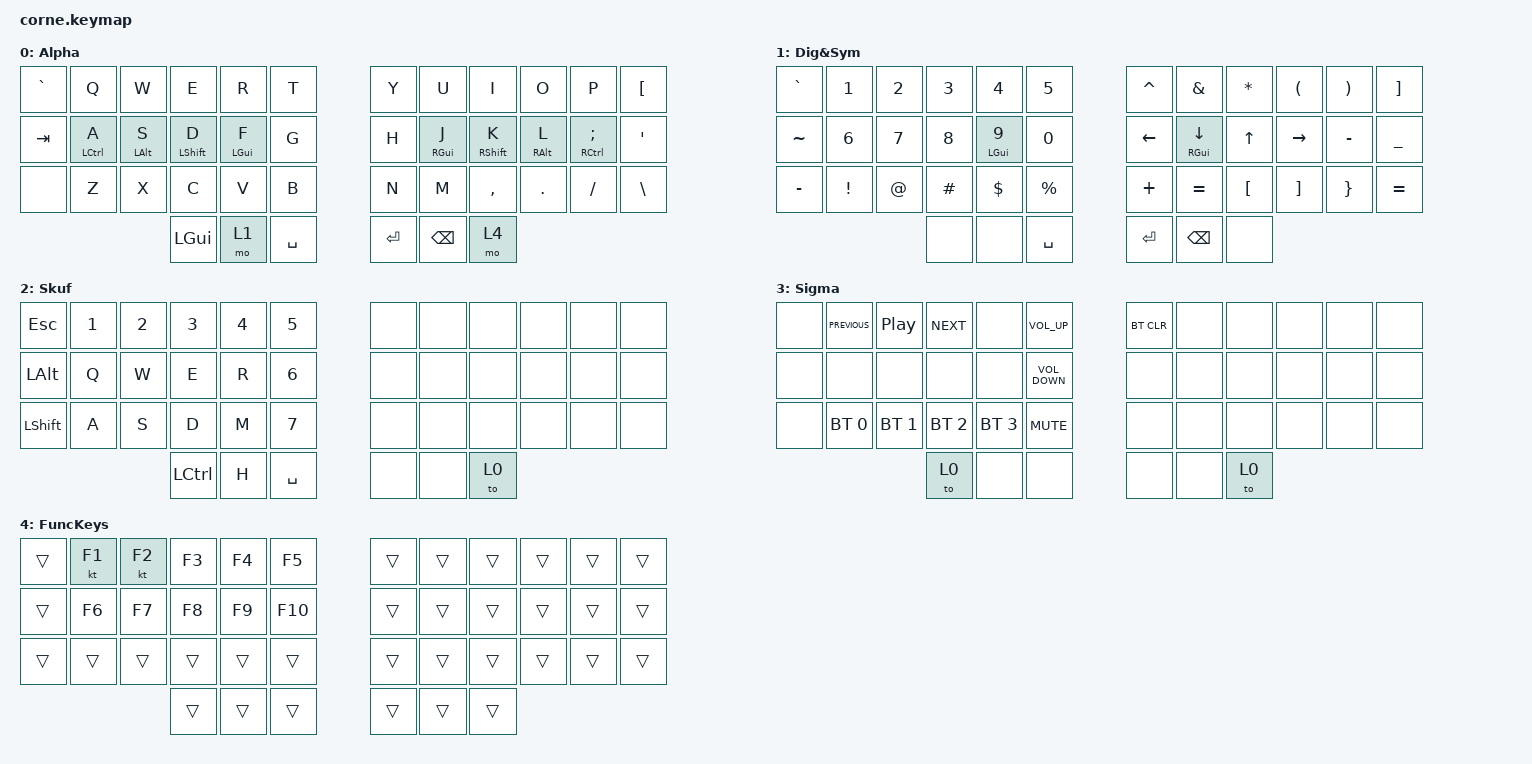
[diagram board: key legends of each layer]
#include <behaviors.dtsi>
#include <dt-bindings/zmk/bt.h>
#include <dt-bindings/zmk/keys.h>

#define DEFAULT 0

/ {
    combos {
        compatible = "zmk,combos";

        Escape {
            bindings = <&kp ESCAPE>;
            key-positions = <19 20>;
            timeout-ms = <50>;
        };

        Skuf {
            bindings = <&to 2>;
            key-positions = <11 35>;
            timeout-ms = <300>;
            require-prior-idle-ms = <200>;
        };

        BT_settings {
            bindings = <&to 3>;
            key-positions = <0 24>;
        };

        Easy_p {
            bindings = <&kp P>;
            key-positions = <7 8>;
            slow-release;
            layers = <0>;
            timeout-ms = <50>;
        };

        macos_screenshot {
            bindings = <&macos_screenshot_2>;
            key-positions = <27 26>;
            timeout-ms = <50>;
        };
    };

    macros {
        macos_screenshot: macos_screenshot {
            compatible = "zmk,behavior-macro";
            #binding-cells = <0>;
            bindings = <&kp NUMBER_4 &kp LEFT_GUI &kp LCTRL &kp LEFT_SHIFT>;
            label = "MACOS_SCREENSHOT";
        };

        macos_screenshot_2: macos_screenshot_2 {
            compatible = "zmk,behavior-macro";
            #binding-cells = <0>;
            bindings =
                <&macro_press>,
                <&kp LEFT_GUI &kp LEFT_SHIFT &kp LCTRL>,
                <&macro_wait_time 5>,
                <&macro_tap>,
                <&kp NUMBER_4>,
                <&macro_release>,
                <&kp LEFT_GUI &kp LEFT_SHIFT &kp LCTRL>;

            label = "MACOS_SCREENSHOT_2";
        };
    };

    keymap {
        compatible = "zmk,keymap";

        alpha {
            bindings = <
&kp GRAVE  &kp Q        &kp W           &kp E             &kp R           &kp T        &kp Y      &kp U            &kp I              &kp O            &kp P                &kp LEFT_BRACKET
&kp TAB    &mt LCTRL A  &mt LEFT_ALT S  &mt LEFT_SHIFT D  &mt LEFT_GUI F  &kp G        &kp H      &mt RIGHT_GUI J  &mt RIGHT_SHIFT K  &mt RIGHT_ALT L  &mt RCTRL SEMICOLON  &kp APOS
&none      &kp Z        &kp X           &kp C             &kp V           &kp B        &kp N      &kp M            &kp COMMA          &kp DOT          &kp FSLH             &kp BACKSLASH
                                        &kp LEFT_GUI      &mo 1           &kp SPACE    &kp ENTER  &kp BACKSPACE    &mo 4
            >;

            label = "Alpha";
        };

        digits_symbols {
            bindings = <
&kp GRAVE  &kp NUMBER_1     &kp NUMBER_2  &kp NUMBER_3  &kp N4                 &kp N5          &kp CARET  &kp AMPERSAND             &kp ASTERISK      &kp LEFT_PARENTHESIS  &kp RIGHT_PARENTHESIS  &kp RIGHT_BRACKET
&kp TILDE  &kp NUMBER_6     &kp NUMBER_7  &kp NUMBER_8  &mt LEFT_GUI NUMBER_9  &kp NUMBER_0    &kp LEFT   &mt RIGHT_GUI DOWN_ARROW  &kp UP_ARROW      &kp RIGHT             &kp MINUS              &kp UNDERSCORE
&kp MINUS  &kp EXCLAMATION  &kp AT_SIGN   &kp HASH      &kp DOLLAR             &kp PERCENT     &kp PLUS   &kp EQUAL                 &kp LEFT_BRACKET  &kp RIGHT_BRACKET     &kp RIGHT_BRACE        &kp EQUAL
                                          &none         &none                  &kp SPACE       &kp ENTER  &kp BACKSPACE             &none
            >;

            label = "Dig&Sym";
        };

        terraria {
            bindings = <
&kp ESCAPE    &kp N1  &kp N2  &kp N3     &kp N4  &kp N5       &none  &none  &none  &none  &none  &none
&kp LEFT_ALT  &kp Q   &kp W   &kp E      &kp R   &kp N6       &none  &none  &none  &none  &none  &none
&kp LSHFT     &kp A   &kp S   &kp D      &kp M   &kp N7       &none  &none  &none  &none  &none  &none
                              &kp LCTRL  &kp H   &kp SPACE    &none  &none  &to 0
            >;

            label = "Skuf";
        };

        Sigma {
            bindings = <
&none  &kp C_PREVIOUS  &kp C_PLAY_PAUSE  &kp C_NEXT    &none         &kp C_VOLUME_UP      &bt BT_CLR  &none  &none  &none  &none  &none
&none  &none           &none             &none         &none         &kp C_VOLUME_DOWN    &none       &none  &none  &none  &none  &none
&none  &bt BT_SEL 0    &bt BT_SEL 1      &bt BT_SEL 2  &bt BT_SEL 3  &kp C_MUTE           &none       &none  &none  &none  &none  &none
                                         &to 0         &none         &none                &none       &none  &to 0
            >;
        };

        FuncKeys {
            bindings = <
&trans  &kt F1  &kt F2  &kp F3  &kp F4  &kp F5     &trans  &trans  &trans  &trans  &trans  &trans
&trans  &kp F6  &kp F7  &kp F8  &kp F9  &kp F10    &trans  &trans  &trans  &trans  &trans  &trans
&trans  &trans  &trans  &trans  &trans  &trans     &trans  &trans  &trans  &trans  &trans  &trans
                        &trans  &trans  &trans     &trans  &trans  &trans
            >;
        };
    };
};
